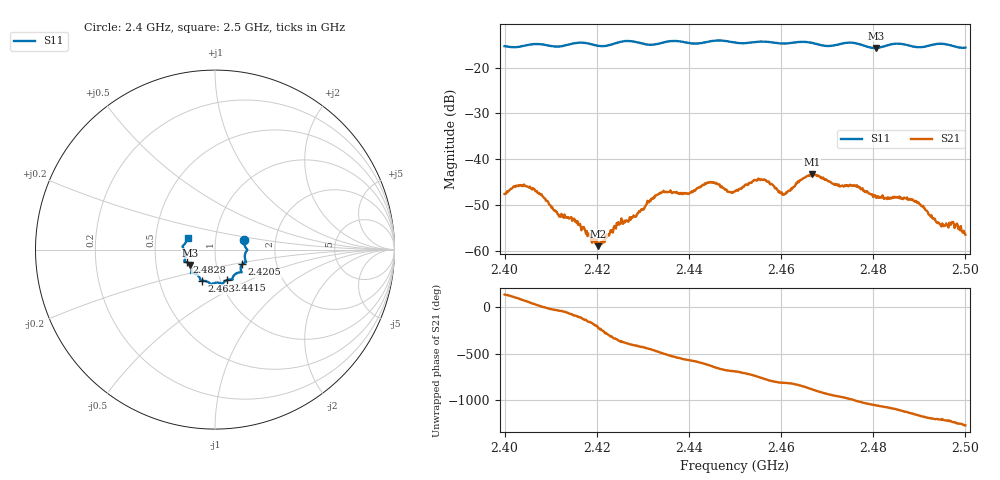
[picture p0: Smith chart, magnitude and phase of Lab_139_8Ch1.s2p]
# Hz S RI R 50
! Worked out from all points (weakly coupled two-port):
!   601 points, 2.4 GHz to 2.5 GHz, reference 50 ohm
!   highest |S21| = -43.25 dB at 2.4667 GHz (marker M1); lowest = -59.0 dB at 2.4203 GHz (marker M2)
!   lowest |S11| = -15.7 dB at 2.4807 GHz (marker M3), VSWR 1.39, Z = 37.3 - j6.54 ohm
!   |S11| at or under -10 dB: start of sweep to end of sweep
!   S12 and S22 are empty: the file has one direction only
!   S11 on the Smith chart (normalised r, x): 2.4 GHz: 1.38, +0.15; 2.4205 GHz: 1.34, -0.22; 2.4415 GHz: 1.07, -0.38; 2.463 GHz: 0.82, -0.29; 2.4828 GHz: 0.72, -0.10; 2.5 GHz: 0.73, +0.10
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2.4e9  0.163 0.0526  -0.00302 0.00288  0 0  0 0
2.403e9  0.1669 0.0188  -0.000341 0.00505  0 0  0 0
2.406e9  0.1796 0.000707  0.00359 0.00298  0 0  0 0
2.411667e9  0.1661 -0.0326  0.00202 -0.00146  0 0  0 0
2.416667e9  0.1735 -0.0698  -0.000716 -0.00152  0 0  0 0
2.420333e9  0.153 -0.0799  -0.000814 0.000778  0 0  0 0
2.4205e9  0.152 -0.0809  -0.000765 0.000855  0 0  0 0
2.433333e9  0.1002 -0.1515  -0.00215 -0.00353  0 0  0 0
2.4415e9  0.0659 -0.1702  -0.00331 0.0033  0 0  0 0
2.444833e9  0.0439 -0.1892  0.000289 0.00563  0 0  0 0
2.45e9  0.0247 -0.1856  0.00395 0.00209  0 0  0 0
2.4555e9  -0.0187 -0.1911  0.00462 -0.0037  0 0  0 0
2.460333e9  -0.0492 -0.1761  -0.000297 -0.00408  0 0  0 0
2.463e9  -0.072 -0.1736  -0.00173 -0.00478  0 0  0 0
2.466667e9  -0.0816 -0.1673  -0.00664 -0.0018  0 0  0 0
2.480667e9  -0.1394 -0.0854  0.00353 0.00137  0 0  0 0
2.482833e9  -0.1584 -0.0702  0.00379 7.94e-05  0 0  0 0
2.483333e9  -0.1624 -0.0683  0.00377 -0.000121  0 0  0 0
2.488833e9  -0.1645 -0.0376  0.000939 -0.00337  0 0  0 0
2.494333e9  -0.1809 0.0163  -0.00127 -0.00152  0 0  0 0
2.497e9  -0.1713 0.0289  -0.00183 -0.000933  0 0  0 0
2.5e9  -0.152 0.0639  -0.00146 0.000343  0 0  0 0
